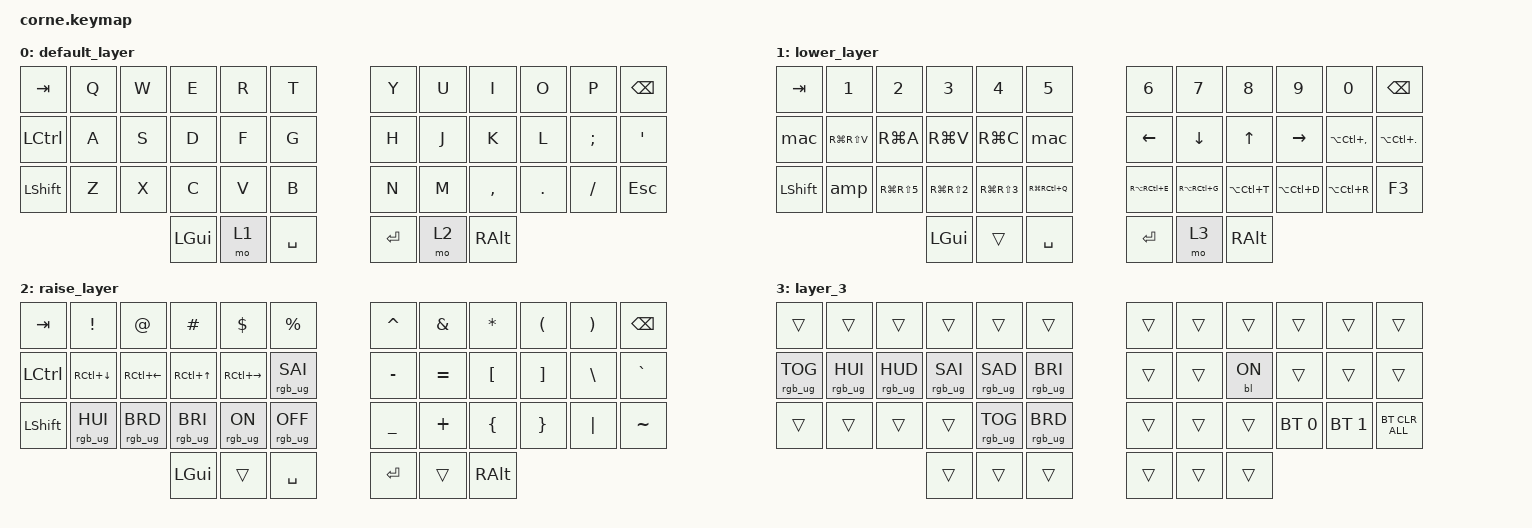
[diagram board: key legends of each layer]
/*
 * Copyright (c) 2020 The ZMK Contributors
 *
 * SPDX-License-Identifier: MIT
 */

#include <behaviors.dtsi>
#include <dt-bindings/zmk/backlight.h>
#include <dt-bindings/zmk/bt.h>
#include <dt-bindings/zmk/keys.h>
#include <dt-bindings/zmk/rgb.h>

/ {
    macros {
        mac: mac {
            compatible = "zmk,behavior-macro";
            #binding-cells = <0>;
            bindings = <&kp F &kp D &kp V &kp C &kp ENTER>;
            label = "MAC";
        };

        amp: amp {
            compatible = "zmk,behavior-macro";
            #binding-cells = <0>;
            bindings = <&kp N1 &kp N9 &kp N9 &kp N6 &kp N6 &kp N1 &kp N6 &kp N3 &kp LS(B) &kp LS(N4)>;
            label = "AMP";
        };
    };

    keymap {
        compatible = "zmk,keymap";

        default_layer {
            // -----------------------------------------------------------------------------------------
            // |  TAB |  Q  |  W  |  E  |  R  |  T  |   |  Y  |  U   |  I  |  O  |  P  | BSPC |
            // | CTRL |  A  |  S  |  D  |  F  |  G  |   |  H  |  J   |  K  |  L  |  ;  |  '   |
            // | SHFT |  Z  |  X  |  C  |  V  |  B  |   |  N  |  M   |  ,  |  .  |  /  | ESC  |
            //                    | GUI | LWR | SPC |   | ENT | RSE  | ALT |

            bindings = <
&kp TAB    &kp Q  &kp W  &kp E     &kp R  &kp T        &kp Y    &kp U  &kp I      &kp O    &kp P      &kp BSPC
&kp LCTRL  &kp A  &kp S  &kp D     &kp F  &kp G        &kp H    &kp J  &kp K      &kp L    &kp SEMI   &kp SQT
&kp LSHFT  &kp Z  &kp X  &kp C     &kp V  &kp B        &kp N    &kp M  &kp COMMA  &kp DOT  &kp SLASH  &kp ESC
                         &kp LGUI  &mo 1  &kp SPACE    &kp RET  &mo 2  &kp RALT
            >;
        };

        lower_layer {
            // -----------------------------------------------------------------------------------------
            // |  TAB |  1  |  2  |  3  |  4  |  5  |   |  6  |  7  |  8  |  9  |  0  | BSPC |
            // | BTCLR| BT1 | BT2 | BT3 | BT4 | BT5 |   | LFT | DWN |  UP | RGT |     |      |
            // | SHFT |     |     |     |     |     |   |     |     |     |     |     |      |
            //                    | GUI |     | SPC |   | ENT |     | ALT |

            bindings = <
&kp TAB    &kp N1         &kp N2          &kp N3          &kp N4          &kp N5           &kp N6         &kp N7         &kp N8         &kp N9         &kp N0             &kp BSPC
&mac       &kp RG(RS(V))  &kp RG(A)       &kp RG(V)       &kp RG(C)       &mac             &kp LEFT       &kp DOWN       &kp UP         &kp RIGHT      &kp LA(LC(COMMA))  &kp LA(LC(DOT))
&kp LSHFT  &amp           &kp RG(RS(N5))  &kp RG(RS(N2))  &kp RG(RS(N3))  &kp RG(RC(Q))    &kp RA(RC(E))  &kp RA(RC(G))  &kp LA(LC(T))  &kp LA(LC(D))  &kp LA(LC(R))      &kp F3
                                          &kp LGUI        &trans          &kp SPACE        &kp RET        &mo 3          &kp RALT
            >;
        };

        raise_layer {
            // -----------------------------------------------------------------------------------------
            // |  TAB |  !  |  @  |  #  |  $  |  %  |   |  ^  |  &  |  *  |  (  |  )  | BSPC |
            // | CTRL |     |     |     |     |     |   |  -  |  =  |  [  |  ]  |  \  |  `   |
            // | SHFT |     |     |     |     |     |   |  _  |  +  |  {  |  }  | "|" |  ~   |
            //                    | GUI |     | SPC |   | ENT |     | ALT |

            bindings = <
&kp TAB    &kp EXCL            &kp AT              &kp HASH          &kp DLLR             &kp PRCNT          &kp CARET  &kp AMPS   &kp ASTRK  &kp LPAR  &kp RPAR  &kp BSPC
&kp LCTRL  &kp RC(DOWN_ARROW)  &kp RC(LEFT_ARROW)  &kp RC(UP_ARROW)  &kp RC(RIGHT_ARROW)  &rgb_ug RGB_SAI    &kp MINUS  &kp EQUAL  &kp LBKT   &kp RBKT  &kp BSLH  &kp GRAVE
&kp LSHFT  &rgb_ug RGB_HUI     &rgb_ug RGB_BRD     &rgb_ug RGB_BRI   &rgb_ug RGB_ON       &rgb_ug RGB_OFF    &kp UNDER  &kp PLUS   &kp LBRC   &kp RBRC  &kp PIPE  &kp TILDE
                                                   &kp LGUI          &trans               &kp SPACE          &kp RET    &trans     &kp RALT
            >;
        };

        layer_3 {
            bindings = <
&trans           &trans           &trans           &trans           &trans           &trans             &trans  &trans  &trans     &trans        &trans        &trans
&rgb_ug RGB_TOG  &rgb_ug RGB_HUI  &rgb_ug RGB_HUD  &rgb_ug RGB_SAI  &rgb_ug RGB_SAD  &rgb_ug RGB_BRI    &trans  &trans  &bl BL_ON  &trans        &trans        &trans
&trans           &trans           &trans           &trans           &rgb_ug RGB_TOG  &rgb_ug RGB_BRD    &trans  &trans  &trans     &bt BT_SEL 0  &bt BT_SEL 1  &bt BT_CLR_ALL
                                                   &trans           &trans           &trans             &trans  &trans  &trans
            >;
        };
    };
};
